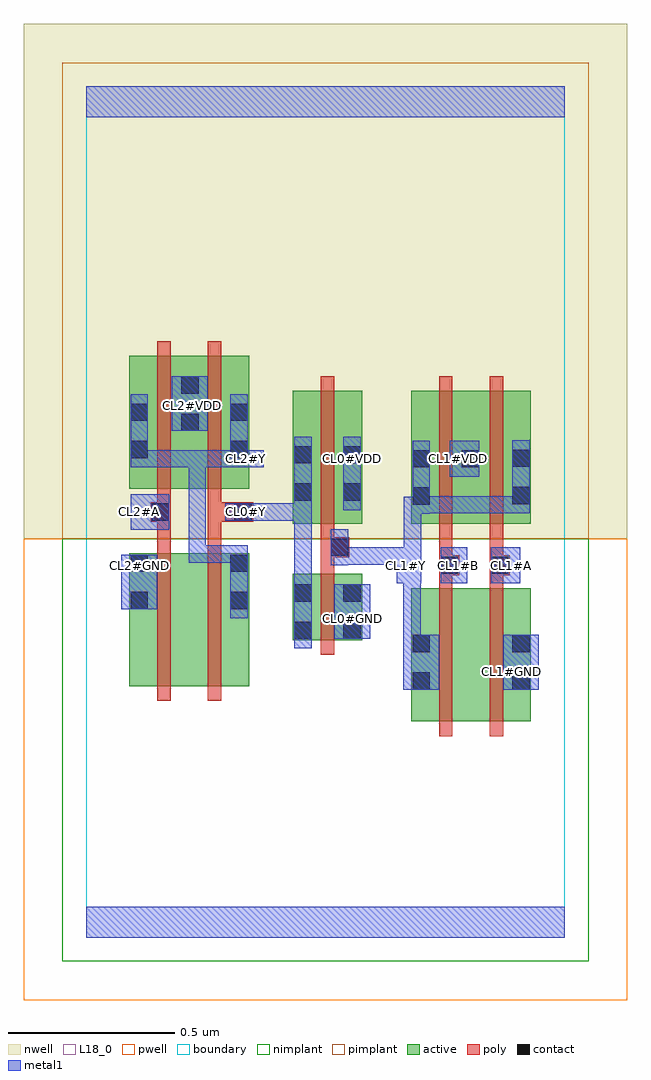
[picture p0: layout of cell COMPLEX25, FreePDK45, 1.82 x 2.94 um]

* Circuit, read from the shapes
.subckt COMPLEX25 CL0#GND CL0#VDD CL0#Y CL1#A CL1#B CL1#GND CL1#VDD CL1#Y CL2#A CL2#GND CL2#VDD CL2#Y
M1 n1 CL2#A CL2#GND VSUBS nfet w=0.4u l=0.04u
M2 CL2#Y CL0#Y n1 VSUBS nfet w=0.4u l=0.04u
M3 CL0#GND CL1#Y CL0#Y VSUBS nfet w=0.2u l=0.04u
M4 n2 CL1#B CL1#Y VSUBS nfet w=0.4u l=0.04u
M5 CL1#GND CL1#A n2 VSUBS nfet w=0.4u l=0.04u
M6 CL2#VDD CL2#A CL2#Y n3 pfet w=0.4u l=0.04u
M7 CL2#Y CL0#Y CL2#VDD n3 pfet w=0.4u l=0.04u
M8 CL0#VDD CL1#Y CL0#Y n3 pfet w=0.4u l=0.04u
M9 CL1#VDD CL1#B CL1#Y n3 pfet w=0.4u l=0.04u
M10 CL1#Y CL1#A CL1#VDD n3 pfet w=0.4u l=0.04u
.ends

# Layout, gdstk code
import gdstk
lib = gdstk.Library(unit=1e-6, precision=1e-09)
def R(c, l, rs):  # rectangles x0, y0, x1, y1
    for r in rs: c.add(gdstk.rectangle(r[:2], r[2:], *l))
def A(c, l, x, y, w, h, nx, ny, dx, dy):  # array of equal rectangles
    R(c, l, [(x+i*dx, y+j*dy, x+i*dx+w, y+j*dy+h) for i in range(nx) for j in range(ny)])
active = (1, 0)
pwell = (2, 0)
nwell = (3, 0)
nimplant = (4, 0)
pimplant = (5, 0)
poly = (9, 0)
contact = (10, 0)
metal1 = (11, 0)
L18_0 = (18, 0)
boundary = (235, 0)

complex25 = lib.new_cell('COMPLEX25')
R(complex25, active, [(0.978,0.65,1.158,1.05), (1.158,0.65,1.338,1.05), (0.978,0.742,1.038,1.05), (1.278,0.742,1.338,1.05), (0.13,0.756,0.31,1.156), (0.13,0.756,0.19,1.156), (0.31,0.756,0.49,1.156), (0.43,0.756,0.49,1.156), (0.622,0.894,0.682,1.094), (0.622,0.894,0.83,1.094), (0.77,0.894,0.83,1.094), (0.622,1.244,0.682,1.644), (0.622,1.244,0.83,1.644), (0.77,1.244,0.83,1.644), (0.978,1.244,1.038,1.644), (0.978,1.244,1.186,1.644), (1.126,1.244,1.186,1.644), (1.126,1.244,1.338,1.644), (1.278,1.244,1.338,1.644), (0.13,1.35,0.342,1.75), (0.13,1.35,0.19,1.644), (0.282,1.35,0.49,1.75), (0.282,1.35,0.342,1.692), (0.43,1.35,0.49,1.644)])
R(complex25, pwell, [(-0.188,-0.188,1.628,1.2)])
R(complex25, nwell, [(-0.188,1.2,1.628,2.748)])
R(complex25, nimplant, [(-0.072,-0.072,1.512,1.2)])
R(complex25, pimplant, [(-0.072,1.2,1.512,2.632)])
R(complex25, poly, [(1.062,0.606,1.102,1.094), (1.214,0.606,1.254,1.094), (0.214,0.712,0.254,1.2), (0.366,0.712,0.406,1.2), (0.706,0.85,0.746,1.138), (1.062,1.054,1.102,1.13), (1.214,1.054,1.254,1.13), (1.062,1.09,1.122,1.15), (1.214,1.09,1.274,1.15), (0.706,1.098,0.746,1.184), (1.062,1.11,1.102,1.24), (1.062,1.11,1.102,1.15), (1.062,1.11,1.102,1.15), (1.214,1.11,1.254,1.24), (1.214,1.11,1.254,1.15), (1.214,1.11,1.254,1.15), (0.706,1.144,0.792,1.204), (0.214,1.16,0.254,1.29), (0.366,1.16,0.406,1.29), (0.706,1.164,0.746,1.204), (0.706,1.164,0.746,1.204), (0.706,1.164,0.746,1.24), (0.706,1.2,0.746,1.688), (1.062,1.2,1.102,1.688), (1.214,1.2,1.254,1.688), (0.194,1.25,0.254,1.31), (0.214,1.25,0.254,1.29), (0.214,1.25,0.254,1.29), (0.366,1.25,0.502,1.31), (0.214,1.27,0.254,1.346), (0.366,1.27,0.406,1.31), (0.366,1.27,0.406,1.31), (0.366,1.27,0.406,1.346), (0.214,1.306,0.254,1.794), (0.366,1.306,0.406,1.794)])
R(complex25, contact, [(0.982,0.746,1.034,0.798), (1.282,0.746,1.334,0.798), (0.982,0.858,1.034,0.91), (1.282,0.858,1.334,0.91), (0.626,0.898,0.678,0.95), (0.774,0.898,0.826,0.95), (0.134,0.988,0.186,1.04), (0.434,0.988,0.486,1.04), (0.626,1.01,0.678,1.062), (0.774,1.01,0.826,1.062), (1.066,1.094,1.118,1.146), (1.218,1.094,1.27,1.146), (0.134,1.1,0.186,1.152), (0.434,1.1,0.486,1.152), (0.736,1.148,0.788,1.2), (0.198,1.254,0.25,1.306), (0.446,1.254,0.498,1.306), (0.982,1.302,1.034,1.354), (1.282,1.304,1.334,1.356), (0.626,1.314,0.678,1.366), (0.774,1.314,0.826,1.366), (0.982,1.414,1.034,1.466), (1.13,1.414,1.182,1.466), (1.282,1.416,1.334,1.468), (0.626,1.426,0.678,1.478), (0.774,1.426,0.826,1.478), (0.134,1.442,0.186,1.494), (0.434,1.442,0.486,1.494), (0.286,1.524,0.338,1.576), (0.134,1.554,0.186,1.606), (0.434,1.554,0.486,1.606), (0.286,1.636,0.338,1.688)])
R(complex25, metal1, [(0,0,1.44,0.092), (0.954,0.746,1.062,0.91), (1.254,0.746,1.362,0.91), (0.954,0.858,1.006,1.118), (0.626,0.87,0.678,1.09), (0.746,0.898,0.854,1.062), (0.746,0.934,0.854,0.996), (0.802,0.934,0.854,0.986), (0.434,0.96,0.486,1.18), (0.106,0.988,0.214,1.152), (0.626,1.038,0.678,1.306), (0.934,1.066,1.008,1.174), (1.066,1.066,1.146,1.174), (1.218,1.066,1.306,1.174), (0.736,1.12,0.788,1.228), (0.736,1.122,0.924,1.174), (0.872,1.122,0.924,1.174), (0.872,1.122,0.986,1.174), (0.956,1.122,1.008,1.326), (0.308,1.128,0.36,1.18), (0.308,1.128,0.36,1.18), (0.308,1.128,0.36,1.18), (0.308,1.128,0.36,1.18), (0.308,1.128,0.36,1.18), (0.308,1.128,0.486,1.18), (0.308,1.128,0.36,1.466), (0.134,1.226,0.25,1.334), (0.418,1.254,0.534,1.306), (0.482,1.254,0.534,1.306), (0.482,1.254,0.534,1.306), (0.482,1.254,0.678,1.306), (0.626,1.254,0.678,1.306), (0.626,1.254,0.678,1.338), (0.956,1.274,1.034,1.326), (0.982,1.274,1.034,1.326), (0.982,1.274,1.034,1.494), (0.982,1.276,1.034,1.328), (0.982,1.276,1.034,1.328), (0.982,1.276,1.196,1.328), (1.144,1.276,1.196,1.328), (1.144,1.276,1.334,1.328), (1.282,1.276,1.334,1.328), (1.282,1.276,1.334,1.328), (1.282,1.276,1.334,1.496), (0.626,1.286,0.678,1.338), (0.626,1.286,0.678,1.338), (0.626,1.286,0.678,1.506), (0.774,1.286,0.826,1.506), (1.094,1.386,1.182,1.494), (0.134,1.414,0.186,1.466), (0.134,1.414,0.186,1.466), (0.134,1.414,0.186,1.634), (0.134,1.414,0.368,1.466), (0.308,1.414,0.36,1.466), (0.308,1.414,0.36,1.466), (0.308,1.414,0.36,1.466), (0.308,1.414,0.478,1.466), (0.316,1.414,0.368,1.466), (0.316,1.414,0.368,1.466), (0.316,1.414,0.368,1.466), (0.316,1.414,0.486,1.466), (0.426,1.414,0.534,1.466), (0.434,1.414,0.486,1.466), (0.434,1.414,0.486,1.634), (0.258,1.524,0.366,1.688), (0,2.468,1.44,2.56)])
A(complex25, L18_0, 0.134, 1.094, 0.052, 0.052, 1, 3, 0, 0.16)
A(complex25, L18_0, 0.934, 1.094, 0.052, 0.052, 3, 1, 0.16, 0)
A(complex25, L18_0, 0.454, 1.414, 0.052, 0.052, 3, 1, 0.32, 0)
R(complex25, L18_0, [(0,0,1.44,0.092), (0.954,0.746,1.062,0.91), (1.254,0.746,1.362,0.91), (1.254,0.774,1.306,0.826), (0.954,0.858,1.006,1.118), (0.626,0.87,0.678,1.09), (0.746,0.898,0.854,1.062), (0.746,0.934,0.854,0.996), (0.774,0.934,0.826,0.986), (0.802,0.934,0.854,0.986), (0.434,0.96,0.486,1.18), (0.106,0.988,0.214,1.152), (0.626,1.038,0.678,1.306), (0.934,1.066,1.008,1.174), (1.066,1.066,1.146,1.174), (1.218,1.066,1.306,1.174), (0.736,1.12,0.788,1.228), (0.736,1.122,0.924,1.174), (0.872,1.122,0.924,1.174), (0.872,1.122,0.986,1.174), (0.956,1.122,1.008,1.326), (0.308,1.128,0.36,1.18), (0.308,1.128,0.36,1.18), (0.308,1.128,0.36,1.18), (0.308,1.128,0.36,1.18), (0.308,1.128,0.36,1.18), (0.308,1.128,0.36,1.466), (0.308,1.128,0.486,1.18), (0.134,1.226,0.25,1.334), (0.418,1.254,0.534,1.306), (0.454,1.254,0.506,1.306), (0.482,1.254,0.534,1.306), (0.482,1.254,0.534,1.306), (0.482,1.254,0.678,1.306), (0.626,1.254,0.678,1.306), (0.626,1.254,0.678,1.338), (0.956,1.274,1.034,1.326), (0.982,1.274,1.034,1.494), (0.982,1.274,1.034,1.326), (0.982,1.276,1.034,1.328), (0.982,1.276,1.034,1.328), (0.982,1.276,1.196,1.328), (1.144,1.276,1.196,1.328), (1.144,1.276,1.334,1.328), (1.282,1.276,1.334,1.496), (1.282,1.276,1.334,1.328), (1.282,1.276,1.334,1.328), (0.626,1.286,0.678,1.506), (0.626,1.286,0.678,1.338), (0.626,1.286,0.678,1.338), (0.774,1.286,0.826,1.506), (1.094,1.386,1.182,1.494), (0.134,1.414,0.186,1.634), (0.134,1.414,0.186,1.466), (0.134,1.414,0.368,1.466), (0.308,1.414,0.36,1.466), (0.308,1.414,0.36,1.466), (0.308,1.414,0.36,1.466), (0.308,1.414,0.478,1.466), (0.316,1.414,0.368,1.466), (0.316,1.414,0.368,1.466), (0.316,1.414,0.368,1.466), (0.316,1.414,0.486,1.466), (0.426,1.414,0.534,1.466), (0.434,1.414,0.486,1.634), (0.434,1.414,0.486,1.466), (0.258,1.524,0.366,1.688), (0.294,1.574,0.346,1.626), (0,2.468,1.44,2.56)])
R(complex25, boundary, [(0,0,1.44,2.56)])
complex25.add(gdstk.Label('CL0#GND', (0.8,0.96), layer=11, texttype=0))
complex25.add(gdstk.Label('CL0#VDD', (0.8,1.44), layer=11, texttype=0))
complex25.add(gdstk.Label('CL0#Y', (0.48,1.28), layer=11, texttype=0))
complex25.add(gdstk.Label('CL1#A', (1.28,1.12), layer=11, texttype=0))
complex25.add(gdstk.Label('CL1#B', (1.12,1.12), layer=11, texttype=0))
complex25.add(gdstk.Label('CL1#GND', (1.28,0.8), layer=11, texttype=0))
complex25.add(gdstk.Label('CL1#VDD', (1.12,1.44), layer=11, texttype=0))
complex25.add(gdstk.Label('CL1#Y', (0.96,1.12), layer=11, texttype=0))
complex25.add(gdstk.Label('CL2#A', (0.16,1.28), layer=11, texttype=0))
complex25.add(gdstk.Label('CL2#GND', (0.16,1.12), layer=11, texttype=0))
complex25.add(gdstk.Label('CL2#VDD', (0.32,1.6), layer=11, texttype=0))
complex25.add(gdstk.Label('CL2#Y', (0.48,1.44), layer=11, texttype=0))

lib.write_gds('COMPLEX25.gds')
